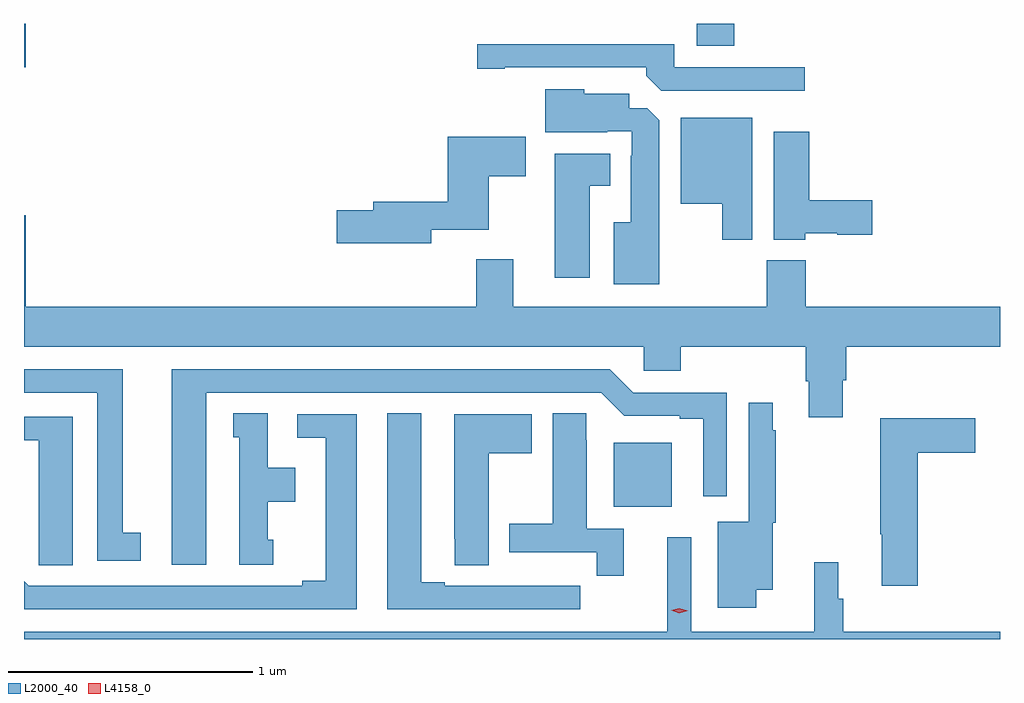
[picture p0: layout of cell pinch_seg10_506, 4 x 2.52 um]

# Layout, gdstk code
import gdstk
lib = gdstk.Library(unit=1e-6, precision=1e-09)
def R(c, l, rs):  # rectangles x0, y0, x1, y1
    for r in rs: c.add(gdstk.rectangle(r[:2], r[2:], *l))
def P(c, l, *ps):  # polygons
    for p in ps: c.add(gdstk.Polygon(p, *l))
L2000_40 = (2000, 40)
L4158_0 = (4158, 0)

pinch_seg10_506 = lib.new_cell('pinch_seg10_506')
R(pinch_seg10_506, L2000_40, [(143.606,1249.043,143.842,1249.306), (141.188,1250.844,141.196,1251.024), (143.945,1250.933,144.098,1251.024)])
P(pinch_seg10_506, L2000_40, [(144.388,1250.844),(143.853,1250.844),(143.853,1250.94),(143.046,1250.94),(143.046,1250.839),(143.158,1250.839),(143.158,1250.844),(143.738,1250.844),(143.738,1250.81),(143.799,1250.748),(144.388,1250.748)],
  [(143.791,1250.627),(143.742,1250.676),(143.668,1250.676),(143.668,1250.737),(143.484,1250.737),(143.484,1250.755),(143.324,1250.755),(143.324,1250.579),(143.579,1250.579),(143.579,1250.583),(143.679,1250.583),(143.679,1250.483),(143.675,1250.483),(143.675,1250.209),(143.606,1250.209),(143.606,1249.955),(143.791,1249.955)],
  [(144.172,1250.638),(143.879,1250.638),(143.879,1250.285),(144.05,1250.285),(144.05,1250.139),(144.172,1250.139)],
  [(144.39,1250.165),(144.521,1250.165),(144.521,1250.158),(144.664,1250.158),(144.664,1250.3),(144.407,1250.3),(144.407,1250.581),(144.26,1250.581),(144.26,1250.138),(144.39,1250.138)],
  [(142.858,1250.178),(143.092,1250.178),(143.092,1250.398),(143.245,1250.398),(143.245,1250.56),(142.925,1250.56),(142.925,1250.294),(142.619,1250.294),(142.619,1250.258),(142.47,1250.258),(142.47,1250.123),(142.858,1250.123)],
  [(143.506,1250.36),(143.59,1250.36),(143.59,1250.491),(143.363,1250.491),(143.363,1249.982),(143.506,1249.982)],
  [(144.544,1249.563),(144.557,1249.563),(144.557,1249.7),(145.188,1249.7),(145.188,1249.864),(144.392,1249.864),(144.392,1250.053),(144.232,1250.053),(144.232,1249.864),(143.194,1249.864),(143.194,1250.059),(143.042,1250.059),(143.042,1249.864),(141.196,1249.864),(141.196,1250.239),(141.188,1250.239),(141.188,1249.7),(143.727,1249.7),(143.727,1249.602),(143.879,1249.602),(143.879,1249.7),(144.392,1249.7),(144.392,1249.558),(144.404,1249.558),(144.404,1249.41),(144.544,1249.41)],
  [(141.934,1249.512),(143.553,1249.512),(143.649,1249.416),(143.876,1249.416),(143.876,1249.404),(143.972,1249.404),(143.972,1249.086),(144.069,1249.086),(144.069,1249.512),(143.685,1249.512),(143.589,1249.608),(141.794,1249.608),(141.794,1248.807),(141.934,1248.807)],
  [(141.667,1248.938),(141.592,1248.938),(141.592,1249.608),(141.188,1249.608),(141.188,1249.512),(141.488,1249.512),(141.488,1248.822),(141.667,1248.822)],
  [(144.19,1248.704),(144.256,1248.704),(144.256,1248.978),(144.268,1248.978),(144.268,1249.358),(144.256,1249.358),(144.256,1249.471),(144.159,1249.471),(144.159,1248.982),(144.032,1248.982),(144.032,1248.63),(144.19,1248.63)],
  [(143.645,1248.954),(143.494,1248.954),(143.494,1249.316),(143.493,1249.316),(143.493,1249.427),(143.354,1249.427),(143.354,1248.975),(143.177,1248.975),(143.177,1248.858),(143.536,1248.858),(143.536,1248.762),(143.645,1248.762)],
  [(142.21,1248.909),(142.186,1248.909),(142.186,1249.064),(142.3,1249.064),(142.3,1249.204),(142.186,1249.204),(142.186,1249.427),(142.046,1249.427),(142.046,1249.329),(142.07,1249.329),(142.07,1248.807),(142.21,1248.807)],
  [(143.467,1248.72),(143.354,1248.72),(143.354,1248.721),(143.188,1248.721),(143.188,1248.72),(142.912,1248.72),(142.912,1248.735),(142.816,1248.735),(142.816,1249.427),(142.676,1249.427),(142.676,1248.624),(143.467,1248.624)],
  [(143.092,1249.264),(143.269,1249.264),(143.269,1249.423),(142.952,1249.423),(142.952,1248.913),(142.953,1248.913),(142.953,1248.805),(143.092,1248.805)],
  [(142.552,1249.422),(142.308,1249.422),(142.308,1249.326),(142.424,1249.326),(142.424,1248.74),(142.328,1248.74),(142.328,1248.72),(141.207,1248.72),(141.188,1248.739),(141.188,1248.624),(142.552,1248.624)],
  [(141.388,1249.413),(141.188,1249.413),(141.188,1249.316),(141.248,1249.316),(141.248,1248.913),(141.249,1248.913),(141.249,1248.805),(141.388,1248.805)],
  [(144.851,1249.265),(145.087,1249.265),(145.087,1249.407),(144.697,1249.407),(144.697,1248.932),(144.704,1248.932),(144.704,1248.72),(144.851,1248.72)],
  [(145.188,1248.532),(144.545,1248.532),(144.545,1248.666),(144.526,1248.666),(144.526,1248.817),(144.427,1248.817),(144.427,1248.532),(143.922,1248.532),(143.922,1248.919),(143.825,1248.919),(143.825,1248.532),(141.188,1248.532),(141.188,1248.5),(145.188,1248.5)])
P(pinch_seg10_506, L4158_0, [(143.874,1248.608),(143.84,1248.619),(143.839,1248.619),(143.84,1248.62),(143.874,1248.628),(143.909,1248.617),(143.909,1248.617),(143.909,1248.617)])

lib.write_gds('pinch_seg10_506.gds')
